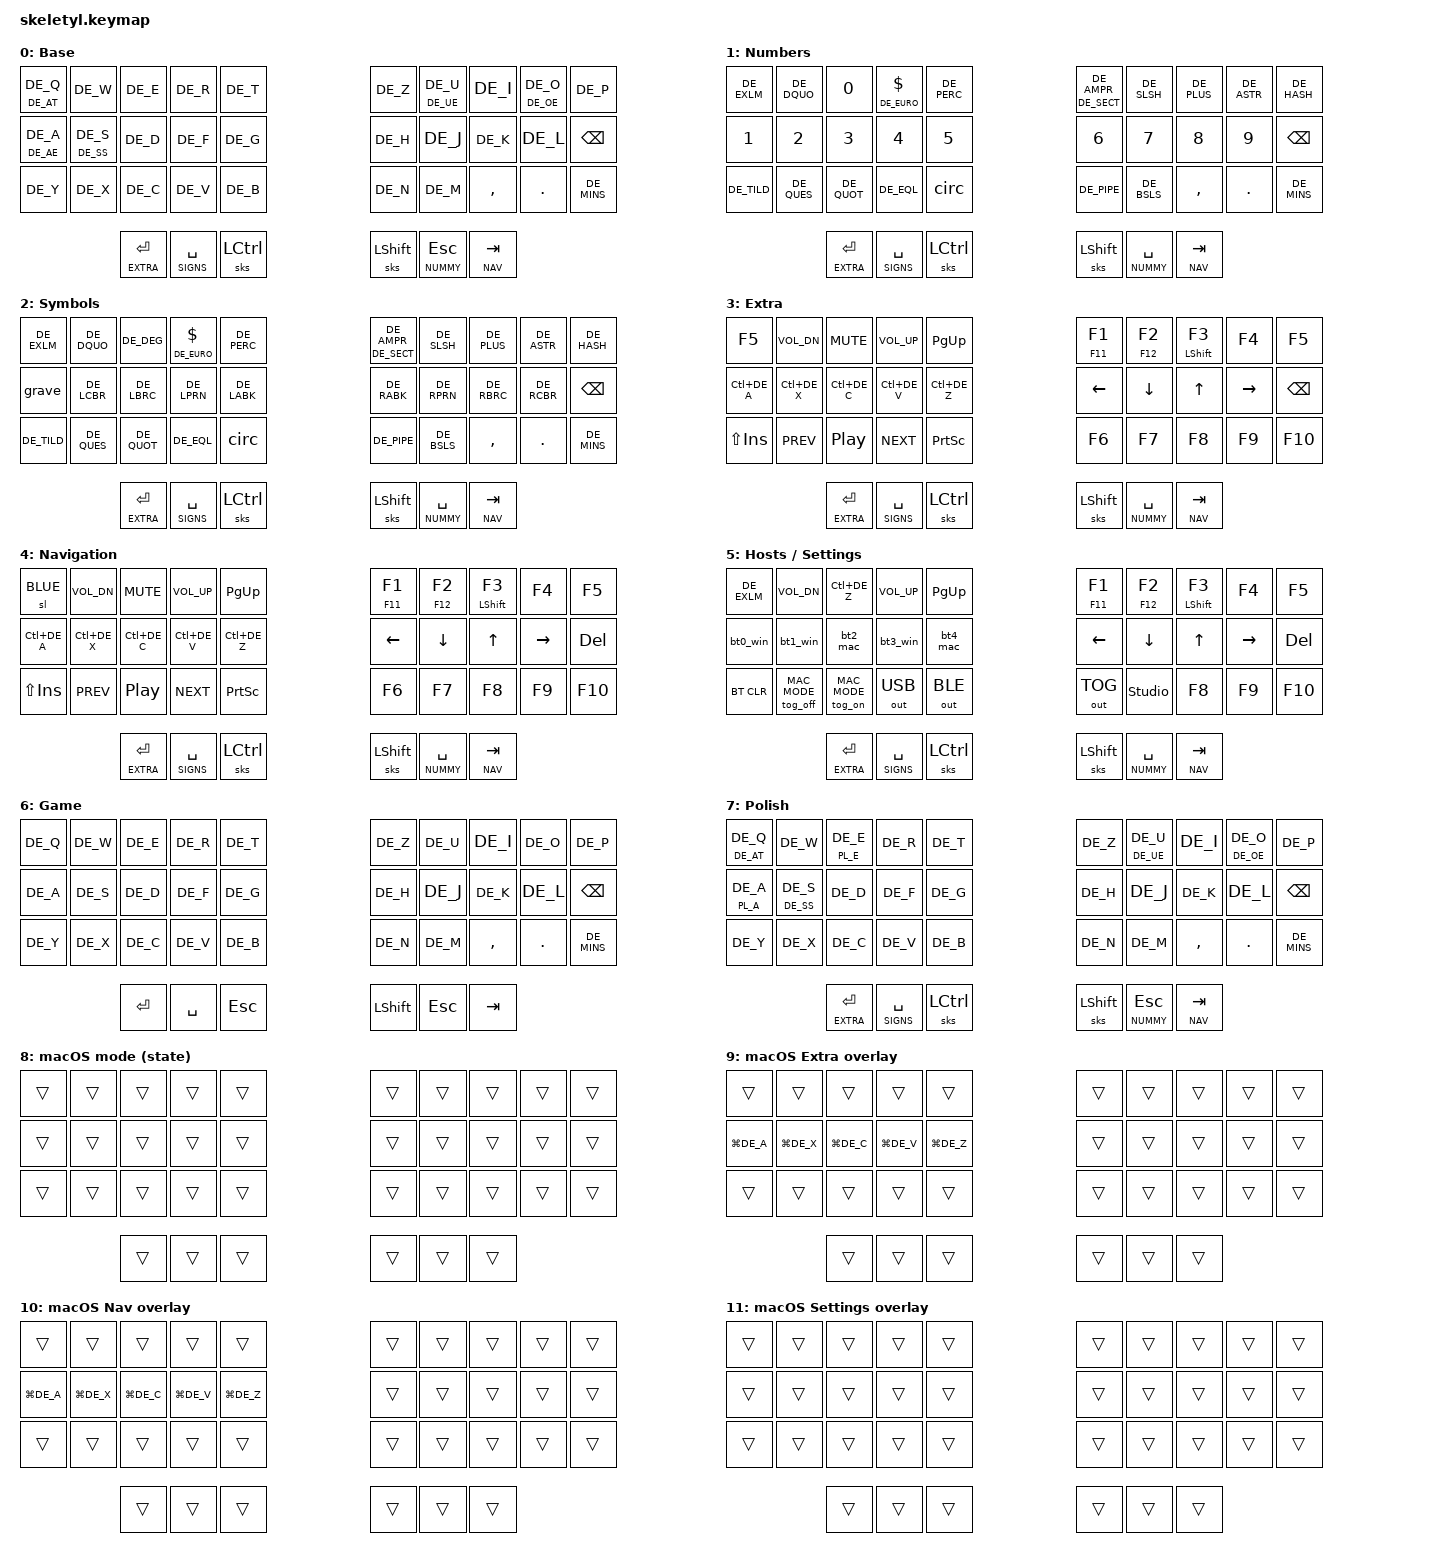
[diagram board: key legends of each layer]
#include "german-keymap.h"
#include <behaviors.dtsi>
#include <dt-bindings/zmk/keys.h>
#include <dt-bindings/zmk/bt.h>
#include <dt-bindings/zmk/outputs.h>

#define DEFAULT   0
#define NUMMY     1
#define SIGNS     2
#define EXTRA     3
#define NAV       4
#define BLUE      5
#define GAME      6
#define POLISH    7
#define MAC_MODE  8
#define MAC_EXTRA 9
#define MAC_NAV   10
#define MAC_BLUE  11

// Deliberately aggressive: short enough that accidental sticky modifiers do
// not linger, but long enough to roll/chain Ctrl -> Shift -> Alt/GUI -> key.
#define STICKY_TIMEOUT_MS 500

&mt {
    flavor = "tap-preferred";
    tapping-term-ms = <180>;
};

&lt {
    tapping-term-ms = <160>;
};

/ {
    behaviors {
        sks: sticky_modifier {
            compatible = "zmk,behavior-sticky-key";
            #binding-cells = <1>;
            display-name = "Sticky modifier (500 ms)";
            bindings = <&kp>;
            release-after-ms = <STICKY_TIMEOUT_MS>;
            quick-release;
            ignore-modifiers;
        };

        tog_on: toggle_layer_on_only {
            compatible = "zmk,behavior-layer-toggle";
            #binding-cells = <1>;
            display-name = "Layer ON";
            toggle-mode = "on";
            locking;
        };

        tog_off: toggle_layer_off_only {
            compatible = "zmk,behavior-layer-toggle";
            #binding-cells = <1>;
            display-name = "Layer OFF";
            toggle-mode = "off";
            locking;
        };

        hm: function_shift {
            compatible = "zmk,behavior-hold-tap";
            #binding-cells = <2>;
            display-name = "Function / Shift";
            tapping-term-ms = <150>;
            quick-tap-ms = <0>;
            flavor = "tap-preferred";
            bindings = <&kp>, <&kp>;
        };

        pht: positional_hold_tap {
            compatible = "zmk,behavior-hold-tap";
            #binding-cells = <2>;
            display-name = "Positional hold-tap";
            flavor = "hold-preferred";
            tapping-term-ms = <180>;
            quick-tap-ms = <180>;
            bindings = <&kp>, <&kp>;
            hold-trigger-key-positions = <29>;
        };
    };

    macros {
        grave: grave {
            compatible = "zmk,behavior-macro";
            #binding-cells = <0>;
            display-name = "Grave";
            wait-ms = <0>;
            bindings = <&macro_tap_time 0>, <&macro_tap &kp DE_GRV &kp DE_GRV>;
        };

        asw: asw {
            compatible = "zmk,behavior-macro";
            #binding-cells = <0>;
            display-name = "App switch";
            wait-ms = <0>;
            bindings =
                <&macro_press &mo NUMMY &kp RGUI>,
                <&macro_pause_for_release>,
                <&macro_release &mo NUMMY &kp RGUI>;
        };

        circ: circ {
            compatible = "zmk,behavior-macro";
            #binding-cells = <0>;
            display-name = "Circumflex";
            wait-ms = <0>;
            bindings = <&macro_tap_time 0>, <&macro_tap &kp DE_CIRC &kp DE_CIRC>;
        };

        // Bluetooth host selectors.  They deliberately combine three pieces of
        // state: selected BT profile, BLE output, and OS mode.
        // Pair hosts in this order (or edit the macros to match your own order):
        //   0 Windows/Linux, 1 Windows/Linux, 2 macOS, 3 Windows/Linux, 4 macOS.
        bt0_win: bt0_win {
            compatible = "zmk,behavior-macro";
            #binding-cells = <0>;
            display-name = "BT 0 - Win/Linux";
            wait-ms = <0>;
            tap-ms = <0>;
            bindings = <&bt BT_SEL 0>, <&out OUT_BLE>, <&tog_off MAC_MODE>;
        };

        bt1_win: bt1_win {
            compatible = "zmk,behavior-macro";
            #binding-cells = <0>;
            display-name = "BT 1 - Win/Linux";
            wait-ms = <0>;
            tap-ms = <0>;
            bindings = <&bt BT_SEL 1>, <&out OUT_BLE>, <&tog_off MAC_MODE>;
        };

        bt2_mac: bt2_mac {
            compatible = "zmk,behavior-macro";
            #binding-cells = <0>;
            display-name = "BT 2 - macOS";
            wait-ms = <0>;
            tap-ms = <0>;
            bindings = <&bt BT_SEL 2>, <&out OUT_BLE>, <&tog_on MAC_MODE>;
        };

        bt3_win: bt3_win {
            compatible = "zmk,behavior-macro";
            #binding-cells = <0>;
            display-name = "BT 3 - Win/Linux";
            wait-ms = <0>;
            tap-ms = <0>;
            bindings = <&bt BT_SEL 3>, <&out OUT_BLE>, <&tog_off MAC_MODE>;
        };

        bt4_mac: bt4_mac {
            compatible = "zmk,behavior-macro";
            #binding-cells = <0>;
            display-name = "BT 4 - macOS";
            wait-ms = <0>;
            tap-ms = <0>;
            bindings = <&bt BT_SEL 4>, <&out OUT_BLE>, <&tog_on MAC_MODE>;
        };
    };

    combos {
        compatible = "zmk,combos";

        combo_rgui {
            timeout-ms = <80>;
            key-positions = <16 17 34>;
            layers = <DEFAULT NUMMY SIGNS EXTRA NAV BLUE POLISH MAC_MODE MAC_EXTRA MAC_NAV MAC_BLUE>;
            bindings = <&asw>;
        };

        combo_esc {
            timeout-ms = <80>;
            key-positions = <11 12 13 31>;
            layers = <DEFAULT NUMMY SIGNS EXTRA NAV BLUE POLISH MAC_MODE MAC_EXTRA MAC_NAV MAC_BLUE>;
            bindings = <&kp ESC>;
        };

        combo_del {
            timeout-ms = <80>;
            key-positions = <1 2 3>;
            layers = <DEFAULT NUMMY SIGNS EXTRA NAV BLUE POLISH MAC_MODE MAC_EXTRA MAC_NAV MAC_BLUE>;
            bindings = <&kp DEL>;
        };

        combo_bspc {
            timeout-ms = <80>;
            key-positions = <21 22 23>;
            layers = <DEFAULT NUMMY SIGNS EXTRA NAV BLUE POLISH MAC_MODE MAC_EXTRA MAC_NAV MAC_BLUE>;
            bindings = <&kp BSPC>;
        };

        fishy {
            timeout-ms = <80>;
            key-positions = <17 18 34>;
            layers = <DEFAULT NUMMY SIGNS EXTRA NAV BLUE POLISH MAC_MODE MAC_EXTRA MAC_NAV MAC_BLUE>;
            bindings = <&kp LA(M)>;
        };

        // User-requested thumb modifier combos:
        // outer thumbs (30 + 35) -> Alt / Option
        combo_alt {
            timeout-ms = <60>;
            key-positions = <30 35>;
            layers = <DEFAULT NUMMY SIGNS EXTRA NAV BLUE POLISH MAC_MODE MAC_EXTRA MAC_NAV MAC_BLUE>;
            bindings = <&sks LALT>;
        };

        // middle thumbs (31 + 34) -> Win / Command
        combo_gui {
            timeout-ms = <60>;
            key-positions = <31 34>;
            layers = <DEFAULT NUMMY SIGNS EXTRA NAV BLUE POLISH MAC_MODE MAC_EXTRA MAC_NAV MAC_BLUE>;
            bindings = <&sks LGUI>;
        };

        tmux {
            timeout-ms = <80>;
            key-positions = <11 12 31>;
            layers = <DEFAULT NUMMY SIGNS EXTRA NAV BLUE POLISH MAC_MODE MAC_EXTRA MAC_NAV MAC_BLUE>;
            bindings = <&kp LA(J)>;
        };

        game_on {
            timeout-ms = <80>;
            key-positions = <30 31 32>;
            layers = <DEFAULT MAC_MODE>;
            bindings = <&tog_on GAME>;
        };

        game_off {
            timeout-ms = <80>;
            key-positions = <30 31 32>;
            layers = <GAME>;
            bindings = <&tog_off GAME>;
        };

        polish_on {
            timeout-ms = <80>;
            key-positions = <33 34 35>;
            layers = <DEFAULT MAC_MODE>;
            bindings = <&tog_on POLISH>;
        };

        polish_off {
            timeout-ms = <80>;
            key-positions = <33 34 35>;
            layers = <POLISH>;
            bindings = <&tog_off POLISH>;
        };
    };

    conditional_layers {
        compatible = "zmk,conditional-layers";

        mac_extra {
            if-layers = <MAC_MODE EXTRA>;
            then-layer = <MAC_EXTRA>;
        };

        mac_nav {
            if-layers = <MAC_MODE NAV>;
            then-layer = <MAC_NAV>;
        };

        mac_blue {
            if-layers = <MAC_MODE BLUE>;
            then-layer = <MAC_BLUE>;
        };
    };

    keymap {
        compatible = "zmk,keymap";

        default_layer {
            display-name = "Base";
            bindings = <
&pht DE_AT DE_Q  &kp DE_W  &kp DE_E  &kp DE_R  &kp DE_T             &kp DE_Z  &pht DE_UE DE_U  &kp DE_I  &pht DE_OE DE_O  &kp DE_P
&pht DE_AE DE_A  &pht DE_SS DE_S  &kp DE_D  &kp DE_F  &kp DE_G     &kp DE_H  &kp DE_J  &kp DE_K  &kp DE_L  &kp BSPC
&kp DE_Y  &kp DE_X  &kp DE_C  &kp DE_V  &kp DE_B                    &kp DE_N  &kp DE_M  &kp COMMA  &kp DOT  &kp DE_MINS
                 &lt EXTRA RET  &lt SIGNS SPACE  &sks LCTRL          &sks LSHFT  &lt NUMMY ESC  &lt NAV TAB
            >;
        };

        nummy_layer {
            display-name = "Numbers";
            bindings = <
&kp DE_EXLM  &kp DE_DQUO  &kp N0  &mt DE_EURO DLLR  &kp DE_PERC    &mt DE_SECT DE_AMPR  &kp DE_SLSH  &kp DE_PLUS  &kp DE_ASTR  &kp DE_HASH
&kp N1  &kp N2  &kp N3  &kp N4  &kp N5                               &kp N6  &kp N7  &kp N8  &kp N9  &kp BSPC
&kp DE_TILD  &kp DE_QUES  &kp DE_QUOT  &kp DE_EQL  &circ            &kp DE_PIPE  &kp DE_BSLS  &kp COMMA  &kp DOT  &kp DE_MINS
                 &lt EXTRA RET  &lt SIGNS SPACE  &sks LCTRL          &sks LSHFT  &lt NUMMY SPACE  &lt NAV TAB
            >;
        };

        signs_layer {
            display-name = "Symbols";
            bindings = <
&kp DE_EXLM  &kp DE_DQUO  &kp DE_DEG  &mt DE_EURO DLLR  &kp DE_PERC  &mt DE_SECT DE_AMPR  &kp DE_SLSH  &kp DE_PLUS  &kp DE_ASTR  &kp DE_HASH
&grave  &kp DE_LCBR  &kp DE_LBRC  &kp DE_LPRN  &kp DE_LABK           &kp DE_RABK  &kp DE_RPRN  &kp DE_RBRC  &kp DE_RCBR  &kp BSPC
&kp DE_TILD  &kp DE_QUES  &kp DE_QUOT  &kp DE_EQL  &circ             &kp DE_PIPE  &kp DE_BSLS  &kp COMMA  &kp DOT  &kp DE_MINS
                 &lt EXTRA RET  &lt SIGNS SPACE  &sks LCTRL           &sks LSHFT  &lt NUMMY SPACE  &lt NAV TAB
            >;
        };

        extra_layer {
            display-name = "Extra";
            bindings = <
&kp F5  &kp C_VOL_DN  &kp C_MUTE  &kp C_VOL_UP  &kp PG_UP          &mt F11 F1  &mt F12 F2  &hm LSHFT F3  &kp F4  &kp F5
&kp LC(DE_A)  &kp LC(DE_X)  &kp LC(DE_C)  &kp LC(DE_V)  &kp LC(DE_Z)    &kp LEFT  &kp DOWN  &kp UP  &kp RIGHT  &kp BSPC
&kp LS(INS)  &kp C_PREV  &kp C_PP  &kp C_NEXT  &kp PSCRN             &kp F6  &kp F7  &kp F8  &kp F9  &kp F10
                 &lt EXTRA RET  &lt SIGNS SPACE  &sks LCTRL           &sks LSHFT  &lt NUMMY SPACE  &lt NAV TAB
            >;
        };

        nav_layer {
            display-name = "Navigation";
            bindings = <
&sl BLUE  &kp C_VOL_DN  &kp C_MUTE  &kp C_VOL_UP  &kp PG_UP          &mt F11 F1  &mt F12 F2  &hm LSHFT F3  &kp F4  &kp F5
&kp LC(DE_A)  &kp LC(DE_X)  &kp LC(DE_C)  &kp LC(DE_V)  &kp LC(DE_Z)    &kp LEFT  &kp DOWN  &kp UP  &kp RIGHT  &kp DEL
&kp LS(INS)  &kp C_PREV  &kp C_PP  &kp C_NEXT  &kp PSCRN             &kp F6  &kp F7  &kp F8  &kp F9  &kp F10
                 &lt EXTRA RET  &lt SIGNS SPACE  &sks LCTRL           &sks LSHFT  &lt NUMMY SPACE  &lt NAV TAB
            >;
        };

        blue_layer {
            display-name = "Hosts / Settings";
            bindings = <
&kp DE_EXLM  &kp C_VOL_DN  &kp LC(DE_Z)  &kp C_VOL_UP  &kp PG_UP     &mt F11 F1  &mt F12 F2  &hm LSHFT F3  &kp F4  &kp F5
&bt0_win  &bt1_win  &bt2_mac  &bt3_win  &bt4_mac                       &kp LEFT  &kp DOWN  &kp UP  &kp RIGHT  &kp DEL
&bt BT_CLR  &tog_off MAC_MODE  &tog_on MAC_MODE  &out OUT_USB  &out OUT_BLE  &out OUT_TOG  &studio_unlock  &kp F8  &kp F9  &kp F10
                 &lt EXTRA RET  &lt SIGNS SPACE  &sks LCTRL           &sks LSHFT  &lt NUMMY SPACE  &lt NAV TAB
            >;
        };

        game_layer {
            display-name = "Game";
            bindings = <
&kp DE_Q  &kp DE_W  &kp DE_E  &kp DE_R  &kp DE_T                     &kp DE_Z  &kp DE_U  &kp DE_I  &kp DE_O  &kp DE_P
&kp DE_A  &kp DE_S  &kp DE_D  &kp DE_F  &kp DE_G                     &kp DE_H  &kp DE_J  &kp DE_K  &kp DE_L  &kp BSPC
&kp DE_Y  &kp DE_X  &kp DE_C  &kp DE_V  &kp DE_B                     &kp DE_N  &kp DE_M  &kp COMMA  &kp DOT  &kp DE_MINS
                 &kp ENTER  &kp SPACE  &kp ESC                       &kp LSHFT  &kp ESC  &kp TAB
            >;
        };

        polish_layer {
            display-name = "Polish";
            bindings = <
&pht DE_AT DE_Q  &kp DE_W  &pht PL_E DE_E  &kp DE_R  &kp DE_T       &kp DE_Z  &pht DE_UE DE_U  &kp DE_I  &pht DE_OE DE_O  &kp DE_P
&pht PL_A DE_A  &pht DE_SS DE_S  &kp DE_D  &kp DE_F  &kp DE_G       &kp DE_H  &kp DE_J  &kp DE_K  &kp DE_L  &kp BSPC
&kp DE_Y  &kp DE_X  &kp DE_C  &kp DE_V  &kp DE_B                    &kp DE_N  &kp DE_M  &kp COMMA  &kp DOT  &kp DE_MINS
                 &lt EXTRA RET  &lt SIGNS SPACE  &sks LCTRL          &sks LSHFT  &lt NUMMY ESC  &lt NAV TAB
            >;
        };

        // State-only layer.  Keep transparent; use the two OS buttons on BLUE.
        mac_mode_layer {
            display-name = "macOS mode (state)";
            bindings = <
&trans &trans &trans &trans &trans   &trans &trans &trans &trans &trans
&trans &trans &trans &trans &trans   &trans &trans &trans &trans &trans
&trans &trans &trans &trans &trans   &trans &trans &trans &trans &trans
             &trans &trans &trans   &trans &trans &trans
            >;
        };

        // macOS semantic overlay for EXTRA: Select All / Cut / Copy / Paste / Undo.
        mac_extra_layer {
            display-name = "macOS Extra overlay";
            bindings = <
&trans &trans &trans &trans &trans   &trans &trans &trans &trans &trans
&kp LG(DE_A) &kp LG(DE_X) &kp LG(DE_C) &kp LG(DE_V) &kp LG(DE_Z)   &trans &trans &trans &trans &trans
&trans &trans &trans &trans &trans   &trans &trans &trans &trans &trans
             &trans &trans &trans   &trans &trans &trans
            >;
        };

        // macOS semantic overlay for NAV: Select All / Cut / Copy / Paste / Undo.
        mac_nav_layer {
            display-name = "macOS Nav overlay";
            bindings = <
&trans &trans &trans &trans &trans   &trans &trans &trans &trans &trans
&kp LG(DE_A) &kp LG(DE_X) &kp LG(DE_C) &kp LG(DE_V) &kp LG(DE_Z)   &trans &trans &trans &trans &trans
&trans &trans &trans &trans &trans   &trans &trans &trans &trans &trans
             &trans &trans &trans   &trans &trans &trans
            >;
        };

        // No OS-specific key overrides are currently needed on BLUE.
        mac_blue_layer {
            display-name = "macOS Settings overlay";
            bindings = <
&trans &trans &trans &trans &trans   &trans &trans &trans &trans &trans
&trans &trans &trans &trans &trans   &trans &trans &trans &trans &trans
&trans &trans &trans &trans &trans   &trans &trans &trans &trans &trans
             &trans &trans &trans   &trans &trans &trans
            >;
        };
    };
};
